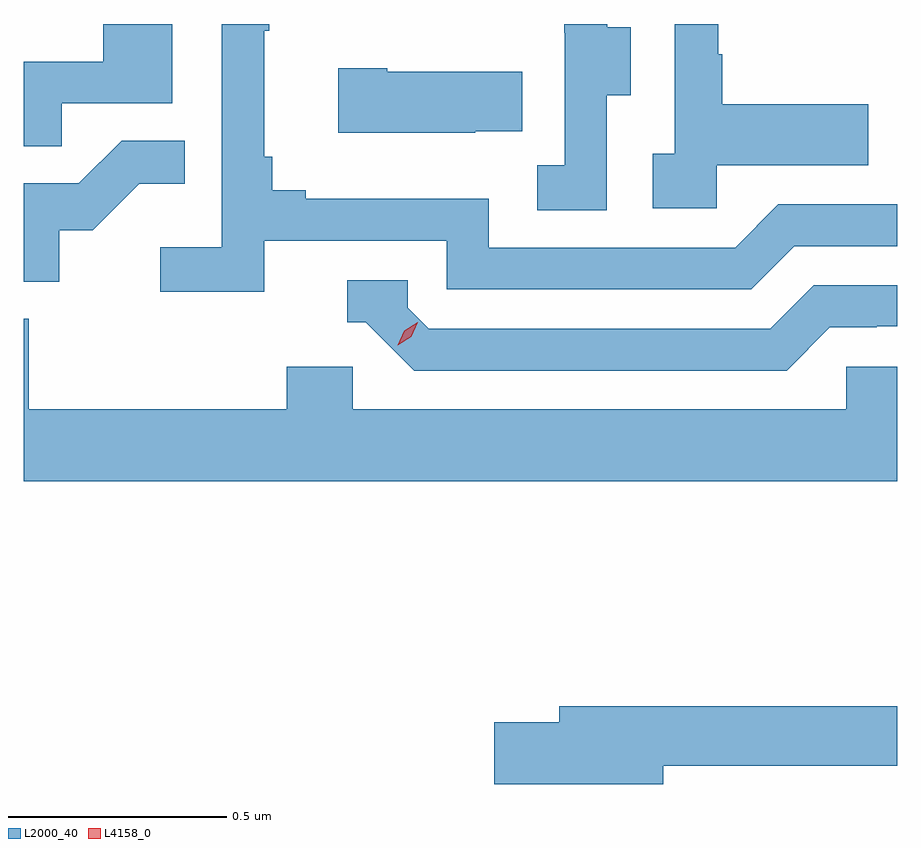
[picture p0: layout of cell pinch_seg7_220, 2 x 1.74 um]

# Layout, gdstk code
import gdstk
lib = gdstk.Library(unit=1e-6, precision=1e-09)
def R(c, l, rs):  # rectangles x0, y0, x1, y1
    for r in rs: c.add(gdstk.rectangle(r[:2], r[2:], *l))
def P(c, l, *ps):  # polygons
    for p in ps: c.add(gdstk.Polygon(p, *l))
L2000_40 = (2000, 40)
L4158_0 = (4158, 0)

pinch_seg7_220 = lib.new_cell('pinch_seg7_220')
R(pinch_seg7_220, L2000_40, [(653.769,1002.994,653.785,1002.995)])
P(pinch_seg7_220, L2000_40, [(655.104,1002.832),(655.159,1002.832),(655.159,1002.987),(655.105,1002.987),(655.105,1002.995),(655.007,1002.995),(655.007,1002.975),(655.008,1002.975),(655.008,1002.671),(654.945,1002.671),(654.945,1002.568),(655.104,1002.568)],
  [(654.32,1002.498),(654.738,1002.498),(654.738,1002.387),(655.435,1002.387),(655.534,1002.486),(655.769,1002.486),(655.769,1002.582),(655.497,1002.582),(655.398,1002.483),(654.834,1002.483),(654.834,1002.595),(654.415,1002.595),(654.415,1002.614),(654.338,1002.614),(654.338,1002.691),(654.319,1002.691),(654.319,1002.979),(654.331,1002.979),(654.331,1002.995),(654.222,1002.995),(654.222,1002.484),(654.081,1002.484),(654.081,1002.382),(654.32,1002.382)],
  [(655.356,1002.671),(655.703,1002.671),(655.703,1002.811),(655.369,1002.811),(655.369,1002.926),(655.359,1002.926),(655.359,1002.995),(655.26,1002.995),(655.26,1002.698),(655.209,1002.698),(655.209,1002.573),(655.356,1002.573)],
  [(653.855,1002.813),(654.109,1002.813),(654.109,1002.995),(653.951,1002.995),(653.951,1002.909),(653.769,1002.909),(653.769,1002.715),(653.855,1002.715)],
  [(654.803,1002.749),(654.911,1002.749),(654.911,1002.886),(654.601,1002.886),(654.601,1002.894),(654.489,1002.894),(654.489,1002.746),(654.803,1002.746)],
  [(653.85,1002.522),(653.926,1002.522),(654.033,1002.629),(654.137,1002.629),(654.137,1002.728),(653.993,1002.728),(653.895,1002.63),(653.769,1002.63),(653.769,1002.405),(653.85,1002.405)],
  [(655.615,1002.3),(655.722,1002.3),(655.722,1002.303),(655.769,1002.303),(655.769,1002.396),(655.578,1002.396),(655.479,1002.297),(654.696,1002.297),(654.648,1002.345),(654.648,1002.408),(654.509,1002.408),(654.509,1002.312),(654.552,1002.312),(654.663,1002.201),(655.516,1002.201)],
  [(655.769,1002.21),(655.653,1002.21),(655.653,1002.112),(654.522,1002.112),(654.522,1002.21),(654.371,1002.21),(654.371,1002.112),(653.78,1002.112),(653.78,1002.32),(653.769,1002.32),(653.769,1001.948),(655.769,1001.948)],
  [(655.234,1001.296),(655.769,1001.296),(655.769,1001.432),(654.995,1001.432),(654.995,1001.396),(654.846,1001.396),(654.846,1001.254),(655.234,1001.254)])
P(pinch_seg7_220, L4158_0, [(654.625,1002.259),(654.625,1002.259),(654.64,1002.292),(654.671,1002.312),(654.671,1002.312),(654.671,1002.312),(654.656,1002.279),(654.625,1002.259)])

lib.write_gds('pinch_seg7_220.gds')
